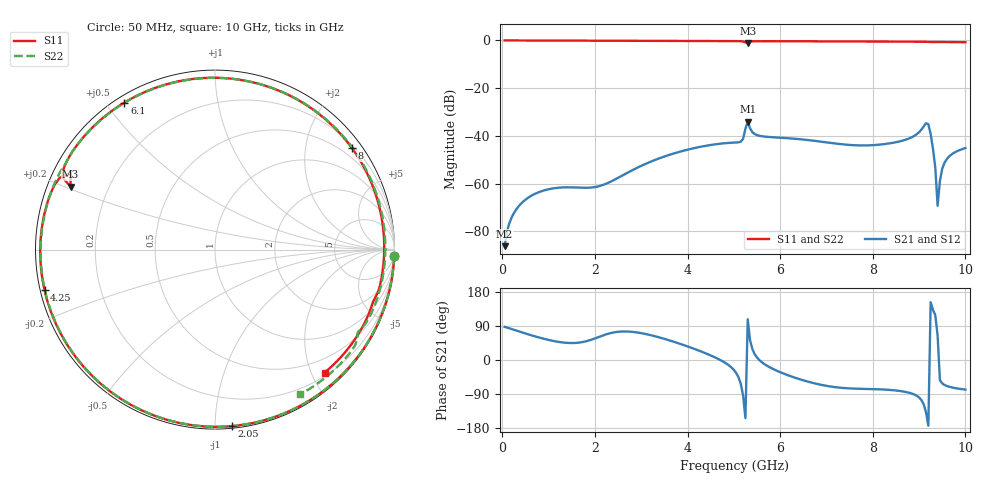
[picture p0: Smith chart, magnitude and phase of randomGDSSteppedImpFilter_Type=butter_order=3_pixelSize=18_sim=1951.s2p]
! freq	dB(S11)	phase(S11)	dB(S12)	phase(S12)
!  dB(S21)	phase(S21)	dB(S22)	phase(S22)
!S-par simulation data
#  GHz  S  DB  R 50
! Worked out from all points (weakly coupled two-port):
!   200 points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, 50 MHz to 10 GHz, reference 50 ohm
!   highest |S21| = -34.06 dB at 5.3 GHz (marker M1); lowest = -86.3 dB at 50 MHz (marker M2)
!   lowest |S11| = -1.1 dB at 5.3 GHz (marker M3), VSWR 15.43, Z = 3.38 + j10.4 ohm
!   |S11| at or under -10 dB: nowhere
!   |S22| runs from -0.7 to 0.0 dB; largest |S21 - S12| = 0
!   S11 on the Smith chart (normalised r, x): 50 MHz: 1, -52; 2.05 GHz: 0.01, -1.10; 4.25 GHz: 0.01, -0.12; 6.1 GHz: 0.03, +0.56; 8 GHz: 0.26, +3.00; 10 GHz: 0.25, -2.21
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0.05  -0.01 -2.2  -86.28 87.5  -86.28 87.5  -0.01 -2.0
0.35  -0.02 -15.0  -69.63 75.8  -69.63 75.8  -0.02 -14.0
0.65  -0.03 -27.7  -64.89 64.4  -64.89 64.4  -0.03 -26.0
1.75  -0.09 -72.8  -61.78 47.7  -61.78 47.7  -0.09 -69.0
2.05  -0.10 -84.6  -61.31 59.2  -61.31 59.2  -0.10 -80.5
3.4  -0.16 -135.3  -49.36 59.3  -49.36 59.3  -0.17 -132.1
4.25  -0.21 -166.6  -44.72 24.6  -44.72 24.6  -0.22 -165.7
5.05  -0.27 162.5  -42.82 -34.1  -42.82 -34.1  -0.29 160.5
5.2  -0.41 155.2  -41.25 -94.1  -41.25 -94.1  -0.31 153.7
5.3  -1.13 156.4  -34.06 107.5  -34.06 107.5  -0.35 149.6
5.5  -0.33 147.0  -39.70 6.6  -39.70 6.6  -0.32 140.3
6.1  -0.33 121.6  -40.91 -37.0  -40.91 -37.0  -0.36 111.7
6.7  -0.37 95.6  -42.00 -60.3  -42.00 -60.3  -0.39 81.9
7.35  -0.41 66.3  -43.57 -73.7  -43.57 -73.7  -0.41 49.4
8  -0.45 36.6  -43.92 -76.7  -43.92 -76.7  -0.43 18.3
8.35  -0.47 20.7  -43.20 -78.8  -43.20 -78.8  -0.45 2.5
9.2  -0.62 -16.8  -35.14 -173.5  -35.14 -173.5  -0.71 -30.6
9.35  -0.65 -22.4  -53.35 118.3  -53.35 118.3  -0.47 -36.6
9.4  -0.65 -24.5  -69.34 64.2  -69.34 64.2  -0.48 -38.6
9.45  -0.65 -26.5  -58.88 -53.3  -58.88 -53.3  -0.48 -40.5
9.55  -0.66 -30.6  -51.27 -66.0  -51.27 -66.0  -0.50 -44.2
10  -0.75 -48.3  -45.14 -78.0  -45.14 -78.0  -0.58 -59.6
